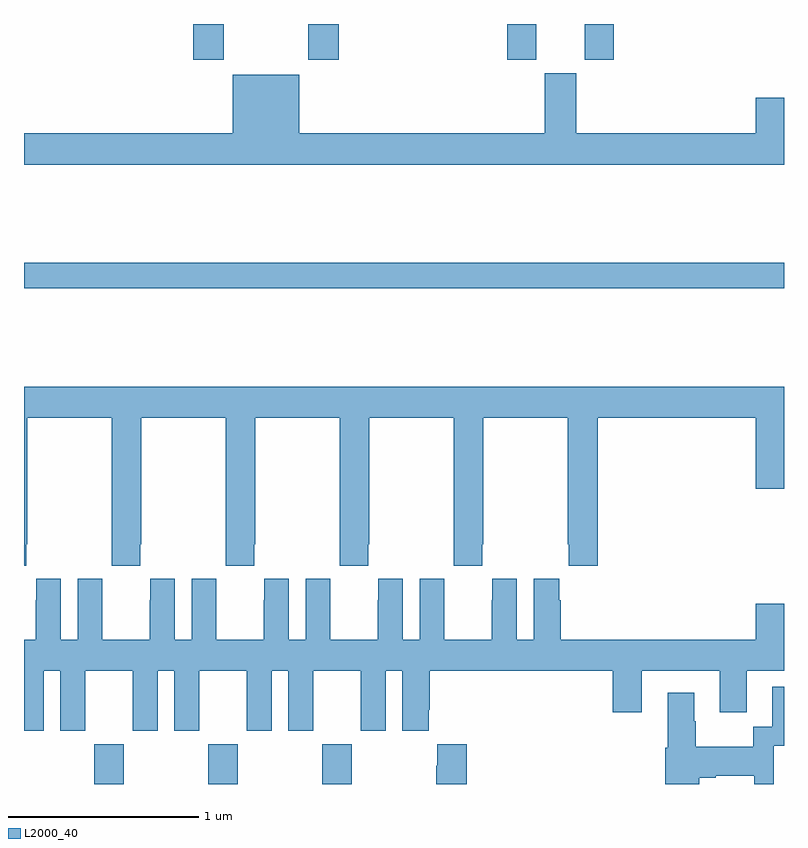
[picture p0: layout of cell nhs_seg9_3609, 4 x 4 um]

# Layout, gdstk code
import gdstk
lib = gdstk.Library(unit=1e-6, precision=1e-09)
def R(c, l, rs):  # rectangles x0, y0, x1, y1
    for r in rs: c.add(gdstk.rectangle(r[:2], r[2:], *l))
def A(c, l, x, y, w, h, nx, ny, dx, dy):  # array of equal rectangles
    R(c, l, [(x+i*dx, y+j*dy, x+i*dx+w, y+j*dy+h) for i in range(nx) for j in range(ny)])
def P(c, l, *ps):  # polygons
    for p in ps: c.add(gdstk.Polygon(p, *l))
L2000_40 = (2000, 40)

nhs_seg9_3609 = lib.new_cell('nhs_seg9_3609')
A(nhs_seg9_3609, L2000_40, 317.371, 1186.5, 0.155, 0.208, 3, 1, 0.6, 0)
R(nhs_seg9_3609, L2000_40, [(317,1189.108,321,1189.244), (317.891,1190.313,318.051,1190.5), (318.496,1190.313,318.656,1190.5), (319.544,1190.313,319.696,1190.5), (319.952,1190.313,320.105,1190.5)])
P(nhs_seg9_3609, L2000_40, [(321,1190.113),(320.852,1190.113),(320.852,1189.924),(319.906,1189.924),(319.906,1190.241),(319.742,1190.241),(319.742,1189.924),(318.448,1189.924),(318.448,1190.233),(318.098,1190.233),(318.098,1189.924),(317,1189.924),(317,1189.76),(321,1189.76)],
  [(317.013,1187.761),(317.016,1187.761),(317.016,1188.428),(317.461,1188.428),(317.461,1187.761),(317.463,1187.761),(317.463,1187.649),(317.613,1187.649),(317.613,1187.761),(317.616,1187.761),(317.616,1188.428),(318.061,1188.428),(318.061,1187.761),(318.063,1187.761),(318.063,1187.649),(318.213,1187.649),(318.213,1187.761),(318.216,1187.761),(318.216,1188.428),(318.661,1188.428),(318.661,1187.761),(318.663,1187.761),(318.663,1187.649),(318.813,1187.649),(318.813,1187.761),(318.816,1187.761),(318.816,1188.428),(319.261,1188.428),(319.261,1187.761),(319.263,1187.761),(319.263,1187.649),(319.413,1187.649),(319.413,1187.761),(319.416,1187.761),(319.416,1188.428),(319.861,1188.428),(319.861,1187.761),(319.867,1187.761),(319.867,1187.649),(320.021,1187.649),(320.021,1188.428),(320.852,1188.428),(320.852,1188.054),(321,1188.054),(321,1188.592),(317,1188.592),(317,1187.649),(317.013,1187.649)],
  [(317.882,1187.581),(317.882,1187.26),(317.794,1187.26),(317.794,1187.581),(317.664,1187.581),(317.664,1187.468),(317.663,1187.468),(317.663,1187.26),(317.413,1187.26),(317.413,1187.468),(317.412,1187.468),(317.412,1187.581),(317.282,1187.581),(317.282,1187.26),(317.194,1187.26),(317.194,1187.581),(317.064,1187.581),(317.064,1187.468),(317.063,1187.468),(317.063,1187.26),(317,1187.26),(317,1186.779),(317.104,1186.779),(317.104,1187.096),(317.192,1187.096),(317.192,1186.779),(317.323,1186.779),(317.323,1187.096),(317.573,1187.096),(317.573,1186.779),(317.704,1186.779),(317.704,1187.096),(317.792,1187.096),(317.792,1186.779),(317.923,1186.779),(317.923,1187.096),(318.173,1187.096),(318.173,1186.779),(318.304,1186.779),(318.304,1187.096),(318.392,1187.096),(318.392,1186.779),(318.523,1186.779),(318.523,1187.096),(318.773,1187.096),(318.773,1186.779),(318.904,1186.779),(318.904,1187.096),(318.992,1187.096),(318.992,1186.779),(319.129,1186.779),(319.129,1186.891),(319.136,1186.891),(319.136,1187.096),(320.099,1187.096),(320.099,1186.878),(320.251,1186.878),(320.251,1187.096),(320.663,1187.096),(320.663,1186.878),(320.803,1186.878),(320.803,1187.096),(321,1187.096),(321,1187.449),(320.852,1187.449),(320.852,1187.26),(319.826,1187.26),(319.826,1187.468),(319.816,1187.468),(319.816,1187.581),(319.682,1187.581),(319.682,1187.26),(319.594,1187.26),(319.594,1187.581),(319.464,1187.581),(319.464,1187.468),(319.463,1187.468),(319.463,1187.26),(319.213,1187.26),(319.213,1187.468),(319.212,1187.468),(319.212,1187.581),(319.082,1187.581),(319.082,1187.26),(318.994,1187.26),(318.994,1187.581),(318.864,1187.581),(318.864,1187.468),(318.863,1187.468),(318.863,1187.26),(318.613,1187.26),(318.613,1187.468),(318.612,1187.468),(318.612,1187.581),(318.482,1187.581),(318.482,1187.26),(318.394,1187.26),(318.394,1187.581),(318.264,1187.581),(318.264,1187.468),(318.263,1187.468),(318.263,1187.26),(318.013,1187.26),(318.013,1187.468),(318.012,1187.468),(318.012,1187.581)],
  [(320.553,1186.532),(320.641,1186.532),(320.641,1186.544),(320.843,1186.544),(320.843,1186.5),(320.946,1186.5),(320.946,1186.701),(321,1186.701),(321,1187.011),(320.939,1187.011),(320.939,1186.802),(320.838,1186.802),(320.838,1186.696),(320.535,1186.696),(320.535,1186.83),(320.527,1186.83),(320.527,1186.981),(320.387,1186.981),(320.387,1186.692),(320.375,1186.692),(320.375,1186.5),(320.553,1186.5)],
  [(319.331,1186.708),(319.175,1186.708),(319.175,1186.595),(319.171,1186.595),(319.171,1186.5),(319.331,1186.5)])

lib.write_gds('nhs_seg9_3609.gds')
